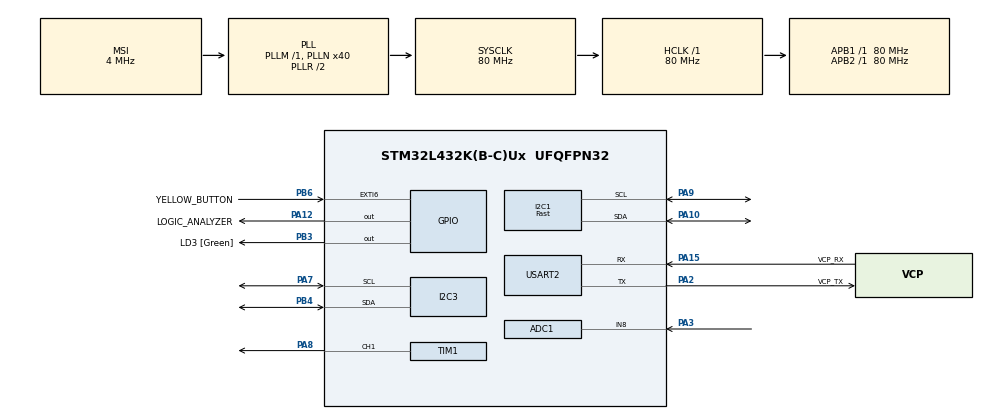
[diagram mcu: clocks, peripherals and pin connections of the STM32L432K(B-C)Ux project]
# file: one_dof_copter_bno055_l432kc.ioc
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ADC1.Channel-0\#ChannelRegularConversion=ADC_CHANNEL_8
ADC1.NbrOfConversionFlag=1
ADC1.OffsetNumber-0\#ChannelRegularConversion=ADC_OFFSET_NONE
ADC1.OversamplingMode=DISABLE
ADC1.Rank-0\#ChannelRegularConversion=1
ADC1.Resolution=ADC_RESOLUTION_10B
ADC1.SamplingTime-0\#ChannelRegularConversion=ADC_SAMPLETIME_2CYCLES_5
ADC1.master=1
Dma.I2C1_RX.2.Direction=DMA_PERIPH_TO_MEMORY
Dma.I2C1_RX.2.Instance=DMA1_Channel7
Dma.I2C1_RX.2.MemDataAlignment=DMA_MDATAALIGN_BYTE
Dma.I2C1_RX.2.MemInc=DMA_MINC_ENABLE
Dma.I2C1_RX.2.Mode=DMA_NORMAL
Dma.I2C1_RX.2.PeriphDataAlignment=DMA_PDATAALIGN_BYTE
Dma.I2C1_RX.2.PeriphInc=DMA_PINC_DISABLE
Dma.I2C1_RX.2.Priority=DMA_PRIORITY_LOW
Dma.Request0=TIM1_CH1
Dma.Request1=TIM1_UP
Dma.Request2=I2C1_RX
Dma.TIM1_CH1.0.Direction=DMA_MEMORY_TO_PERIPH
Dma.TIM1_CH1.0.Instance=DMA1_Channel2
Dma.TIM1_CH1.0.MemDataAlignment=DMA_MDATAALIGN_BYTE
Dma.TIM1_CH1.0.MemInc=DMA_MINC_ENABLE
Dma.TIM1_CH1.0.Mode=DMA_NORMAL
Dma.TIM1_CH1.0.PeriphDataAlignment=DMA_PDATAALIGN_HALFWORD
Dma.TIM1_CH1.0.PeriphInc=DMA_PINC_DISABLE
Dma.TIM1_CH1.0.Priority=DMA_PRIORITY_LOW
Dma.TIM1_UP.1.Direction=DMA_MEMORY_TO_PERIPH
Dma.TIM1_UP.1.Instance=DMA1_Channel6
Dma.TIM1_UP.1.MemDataAlignment=DMA_MDATAALIGN_BYTE
Dma.TIM1_UP.1.MemInc=DMA_MINC_ENABLE
Dma.TIM1_UP.1.Mode=DMA_NORMAL
Dma.TIM1_UP.1.PeriphDataAlignment=DMA_PDATAALIGN_HALFWORD
Dma.TIM1_UP.1.PeriphInc=DMA_PINC_DISABLE
Dma.TIM1_UP.1.Priority=DMA_PRIORITY_LOW
I2C1.I2C_Speed_Mode=I2C_Fast
I2C1.Timing=0x00F12981
I2C3.Timing=0x10D19CE4
Mcu.Family=STM32L4
Mcu.Name=STM32L432K(B-C)Ux
Mcu.Package=UFQFPN32
NVIC.DMA1_Channel2_IRQn=true\:0\:0\:false\:false\:true\:false\:true\:true
NVIC.DMA1_Channel6_IRQn=true\:0\:0\:false\:false\:true\:false\:true\:true
NVIC.DMA1_Channel7_IRQn=true\:0\:0\:false\:false\:true\:false\:true\:true
NVIC.EXTI9_5_IRQn=true\:0\:0\:false\:false\:true\:true\:true\:true
NVIC.I2C1_EV_IRQn=true\:0\:0\:false\:false\:true\:true\:true\:true
NVIC.PriorityGroup=NVIC_PRIORITYGROUP_4
NVIC.TIM1_BRK_TIM15_IRQn=true\:0\:0\:false\:false\:true\:true\:true\:true
PA0.GPIO_Label=MCO [High speed clock in]
PA0.Mode=HSE-External-Clock-Source-for-LittleOrca
PA0.Signal=RCC_CK_IN
PA10.GPIO_Pu=GPIO_PULLUP
PA10.Mode=I2C
PA10.Signal=I2C1_SDA
PA12.GPIO_Label=LOGIC_ANALYZER
PA12.Signal=GPIO_Output
PA13\ (JTMS-SWDIO).GPIO_Label=SWDIO
PA13\ (JTMS-SWDIO).Mode=Serial_Wire
PA13\ (JTMS-SWDIO).Signal=SYS_JTMS-SWDIO
PA14\ (JTCK-SWCLK).GPIO_Label=SWCLK
PA14\ (JTCK-SWCLK).Mode=Serial_Wire
PA14\ (JTCK-SWCLK).Signal=SYS_JTCK-SWCLK
PA15\ (JTDI).GPIO_Label=VCP_RX
PA15\ (JTDI).Mode=Asynchronous
PA15\ (JTDI).Signal=USART2_RX
PA2.GPIO_Label=VCP_TX
PA2.Mode=Asynchronous
PA2.Signal=USART2_TX
PA3.Signal=ADCx_IN8
PA7.Mode=I2C
PA7.Signal=I2C3_SCL
PA8.Signal=S_TIM1_CH1
PA9.GPIO_Pu=GPIO_PULLUP
PA9.Mode=I2C
PA9.Signal=I2C1_SCL
PB3\ (JTDO-TRACESWO).GPIO_Label=LD3 [Green]
PB3\ (JTDO-TRACESWO).Signal=GPIO_Output
PB4\ (NJTRST).Mode=I2C
PB4\ (NJTRST).Signal=I2C3_SDA
PB6.GPIO_Label=YELLOW_BUTTON
PB6.GPIO_ModeDefaultEXTI=GPIO_MODE_IT_FALLING
PB6.GPIO_PuPd=GPIO_PULLUP
PB6.Signal=GPXTI6
PC14-OSC32_IN\ (PC14).Mode=LSE-External-Oscillator
PC14-OSC32_IN\ (PC14).Signal=RCC_OSC32_IN
PC15-OSC32_OUT\ (PC15).Mode=LSE-External-Oscillator
PC15-OSC32_OUT\ (PC15).Signal=RCC_OSC32_OUT
ProjectManager.HeapSize=0x200
ProjectManager.StackSize=0x400
ProjectManager.TargetToolchain=STM32CubeIDE
RCC.ADCFreq_Value=32000000
RCC.AHBFreq_Value=80000000
RCC.APB1Freq_Value=80000000
RCC.APB1TimFreq_Value=80000000
RCC.APB2Freq_Value=80000000
RCC.APB2TimFreq_Value=80000000
RCC.CortexFreq_Value=80000000
RCC.HCLKFreq_Value=80000000
RCC.HSE_VALUE=8000000
RCC.HSI16_VALUE=16000000
RCC.HSI48_VALUE=48000000
RCC.HSI_VALUE=16000000
RCC.MSI_VALUE=4000000
RCC.PLLMUL=RCC_PLLMUL_4
RCC.PLLN=40
RCC.PLLSAI1N=16
RCC.SYSCLKFreq_VALUE=80000000
RCC.SYSCLKSource=RCC_SYSCLKSOURCE_PLLCLK
RCC.USBFreq_Value=32000000
RCC.VCOOutputFreq_Value=160000000
SH.ADCx_IN8.0=ADC1_IN8,IN8-Single-Ended
SH.S_TIM1_CH1.0=TIM1_CH1,PWM Generation1 CH1
TIM1.AutoReloadPreload=TIM_AUTORELOAD_PRELOAD_ENABLE
TIM1.Channel-PWM\ Generation1\ CH1=TIM_CHANNEL_1
TIM1.Period=DSHOT150_TIM_ARR
TIM1.Prescaler=4-1
TIM1.Pulse-PWM\ Generation1\ CH1=22
TIM15.Period=10000-1
TIM15.Prescaler=80-1
TIM15.TIM_MasterOutputTrigger=TIM_TRGO_RESET
USART2.VirtualMode-Asynchronous=VM_ASYNC
VP_TIM15_VS_ClockSourceINT.Mode=Internal
VP_TIM1_VS_ClockSourceINT.Mode=Internal
board=NUCLEO-L432KC

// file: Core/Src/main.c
/* USER CODE BEGIN Header */
/**
 ******************************************************************************
 * @file           : main.c
 * @brief          : Main program body
 ******************************************************************************
 * @attention
 *
 * Copyright (c) 2025 STMicroelectronics.
 * All rights reserved.
 *
 * This software is licensed under terms that can be found in the LICENSE file
 * in the root directory of this software component.
 * If no LICENSE file comes with this software, it is provided AS-IS.
 *
 ******************************************************************************
 */
/* USER CODE END Header */
#include "main.h"
#include "adc.h"
#include "dma.h"
#include "i2c.h"
#include "tim.h"
#include "usart.h"
#include "gpio.h"

/* USER CODE BEGIN Includes */
#include <stdio.h>
#include <stdlib.h>
#include <string.h>
#include <math.h>

#include "bno055_stm32.h"
#include "pid_controller.h"
#include "dshot150.h"

#include "ssd1306.h"
/* USER CODE END Includes */

/* USER CODE BEGIN PD */
#define BNO_I2C_HANDLE &hi2c1
#define DEBUG_UART_HANDLE &huart2

#define SAMPLE_TIME 0.01f
#define PID_KP 15.0f
#define PID_KI 30.0f
#define PID_KD 70.0f
#define PID_TAU 0.06f
#define REF_ANGLE 0.0f

#define OVER_ANGLE_PROTECTION 30.0f // deg
#define UNDER_ANGLE_PROTECTION (-80.0f) // deg

//#define PHIL_S_LAB
//#define REVERSE_SPIN_DIRECTION

/* USER CODE END PD */

/* USER CODE BEGIN PV */
volatile uint8_t emergency_stop_flag = 0;
volatile bno055_vector_t bno_vector;
volatile float copter_angle;
volatile uint16_t speed_ref;

//PID
PID_t pid;

/* USER CODE END PV */

void SystemClock_Config(void);
/* USER CODE BEGIN PFP */

#ifdef __GNUC__
#define PUTCHAR_PROTOTYPE int __io_putchar(int ch)
#else
#define PUTCHAR_PROTOTYPE int fputc(int ch, FILE *f)
#endif

PUTCHAR_PROTOTYPE
{
	HAL_UART_Transmit(DEBUG_UART_HANDLE, (uint8_t*) &ch, 1, HAL_MAX_DELAY);
	return ch;
}
/* USER CODE END PFP */

int main(void)
{

	/* MCU Configuration--------------------------------------------------------*/

	/* Reset of all peripherals, Initializes the Flash interface and the Systick. */
	HAL_Init();

	/* Configure the system clock */
	SystemClock_Config();

	/* Initialize all configured peripherals */
	MX_GPIO_Init();
	MX_DMA_Init();
	MX_USART2_UART_Init();
	MX_TIM1_Init();
	MX_ADC1_Init();
	MX_I2C1_Init();
	MX_TIM15_Init();
	MX_I2C3_Init();
	/* USER CODE BEGIN 2 */

	ssd1306_Init();

	ssd1306_Fill(Black);
	ssd1306_SetCursor(20, 0);
	ssd1306_WriteString("ufnalski.edu.pl", Font_6x8, White);
	ssd1306_SetCursor(12, 12);
	ssd1306_WriteString("1-DOF copter demo", Font_6x8, White);
	ssd1306_SetCursor(30, 24);
	ssd1306_WriteString("3S AM32 ESC", Font_6x8, White);
	ssd1306_SetCursor(30, 36);
	ssd1306_WriteString("BNO055 AHRS", Font_6x8, White);
	ssd1306_SetCursor(20, 48);
	ssd1306_WriteString("PID controller", Font_6x8, White);

	ssd1306_UpdateScreen();

	bno055_assignI2C(BNO_I2C_HANDLE);
	bno055_setup();
	bno055_setOperationModeNDOF();

	printf("BNO055 config finished.\r\n");

#ifdef PHIL_S_LAB
	PID_Init_Phil_s_Lab(&pid, PID_KP, PID_KI, PID_KD, PID_TAU, 100.0f, 1800.0f,
			100.0f, 1800.0f, SAMPLE_TIME);
#else
	PID_Init_Bartek_s_Lab(&pid, PID_KP, PID_KI, PID_KD, PID_TAU, 100.0f,
			1800.0f, SAMPLE_TIME);
#endif

	printf("PID config finished.\r\n");

	HAL_Delay(2000); // let the motor stop after uC RST

	dshot_arm_esc();
	printf("ESC armed.\r\n");
#ifdef REVERSE_SPIN_DIRECTION
  	dshot_led_on(DSHOT_BLUE_LED); // does not work for AM32
  	dshot_set_spin_direction(DSHOT_SPIN_DIRECTION_REVERSE);
  #else
	dshot_led_on(DSHOT_GREEN_LED); // does not work for AM32
	dshot_set_spin_direction(DSHOT_SPIN_DIRECTION_NORMAL);
#endif
	printf("Direction set.\r\n");
	HAL_TIM_Base_Start_IT(&htim15); // control loop interrupt
	printf("Control loop TIM started.\r\n");

	/* USER CODE END 2 */

	/* Infinite loop */
	while (1)
	{

	}
}

void SystemClock_Config(void)
{
	RCC_OscInitTypeDef RCC_OscInitStruct =
	{ 0 };
	RCC_ClkInitTypeDef RCC_ClkInitStruct =
	{ 0 };

	/** Configure the main internal regulator output voltage
	 */
	if (HAL_PWREx_ControlVoltageScaling(PWR_REGULATOR_VOLTAGE_SCALE1) != HAL_OK)
	{
		Error_Handler();
	}

	/** Configure LSE Drive Capability
	 */
	HAL_PWR_EnableBkUpAccess();
	__HAL_RCC_LSEDRIVE_CONFIG(RCC_LSEDRIVE_LOW);

	/** Initializes the RCC Oscillators according to the specified parameters
	 * in the RCC_OscInitTypeDef structure.
	 */
	RCC_OscInitStruct.OscillatorType = RCC_OSCILLATORTYPE_LSE
			| RCC_OSCILLATORTYPE_MSI;
	RCC_OscInitStruct.LSEState = RCC_LSE_ON;
	RCC_OscInitStruct.MSIState = RCC_MSI_ON;
	RCC_OscInitStruct.MSICalibrationValue = 0;
	RCC_OscInitStruct.MSIClockRange = RCC_MSIRANGE_6;
	RCC_OscInitStruct.PLL.PLLState = RCC_PLL_ON;
	RCC_OscInitStruct.PLL.PLLSource = RCC_PLLSOURCE_MSI;
	RCC_OscInitStruct.PLL.PLLM = 1;
	RCC_OscInitStruct.PLL.PLLN = 40;
	RCC_OscInitStruct.PLL.PLLP = RCC_PLLP_DIV7;
	RCC_OscInitStruct.PLL.PLLQ = RCC_PLLQ_DIV2;
	RCC_OscInitStruct.PLL.PLLR = RCC_PLLR_DIV2;
	if (HAL_RCC_OscConfig(&RCC_OscInitStruct) != HAL_OK)
	{
		Error_Handler();
	}

	/** Initializes the CPU, AHB and APB buses clocks
	 */
	RCC_ClkInitStruct.ClockType = RCC_CLOCKTYPE_HCLK | RCC_CLOCKTYPE_SYSCLK
			| RCC_CLOCKTYPE_PCLK1 | RCC_CLOCKTYPE_PCLK2;
	RCC_ClkInitStruct.SYSCLKSource = RCC_SYSCLKSOURCE_PLLCLK;
	RCC_ClkInitStruct.AHBCLKDivider = RCC_SYSCLK_DIV1;
	RCC_ClkInitStruct.APB1CLKDivider = RCC_HCLK_DIV1;
	RCC_ClkInitStruct.APB2CLKDivider = RCC_HCLK_DIV1;

	if (HAL_RCC_ClockConfig(&RCC_ClkInitStruct, FLASH_LATENCY_4) != HAL_OK)
	{
		Error_Handler();
	}

	/** Enable MSI Auto calibration
	 */
	HAL_RCCEx_EnableMSIPLLMode();
}

/* USER CODE BEGIN 4 */
void HAL_GPIO_EXTI_Callback(uint16_t GPIO_Pin)
{
	if (GPIO_Pin == YELLOW_BUTTON_Pin)
	{
		emergency_stop_flag = 1;
	}
}

// Control loop
void HAL_TIM_PeriodElapsedCallback(TIM_HandleTypeDef *htim)
{
	if (htim->Instance == TIM15)
	{
		bno_vector = bno055_getVectorEuler();
		copter_angle = -bno_vector.y;

		// Under/Over angle protection
		if ((copter_angle < UNDER_ANGLE_PROTECTION)
				|| (copter_angle > OVER_ANGLE_PROTECTION))
		{
			emergency_stop_flag = 1;
		}

#ifdef PHIL_S_LAB
		speed_ref = (uint16_t) PID_Controller_Phil_s_Lab(&pid, REF_ANGLE,
				copter_angle);
#else
		speed_ref = (uint16_t) PID_Controller_Bartek_s_Lab(&pid, REF_ANGLE,
				copter_angle);
#endif

		// Double-check :))
		if (speed_ref < 48)
		{
			speed_ref = 48;
		}
		else if (speed_ref > 2047)
		{
			speed_ref = 2047;
		}
		else
		{
			__NOP();
		}

		// Tripple-check :)))
		if (0 == check_dshot_ref_speed(speed_ref) && (0 == emergency_stop_flag))
		{
			dshot_send_ref_speed(speed_ref);
		}

	}
}
/* USER CODE END 4 */

void Error_Handler(void)
{
	__disable_irq();
	while (1)
	{
	}
}
